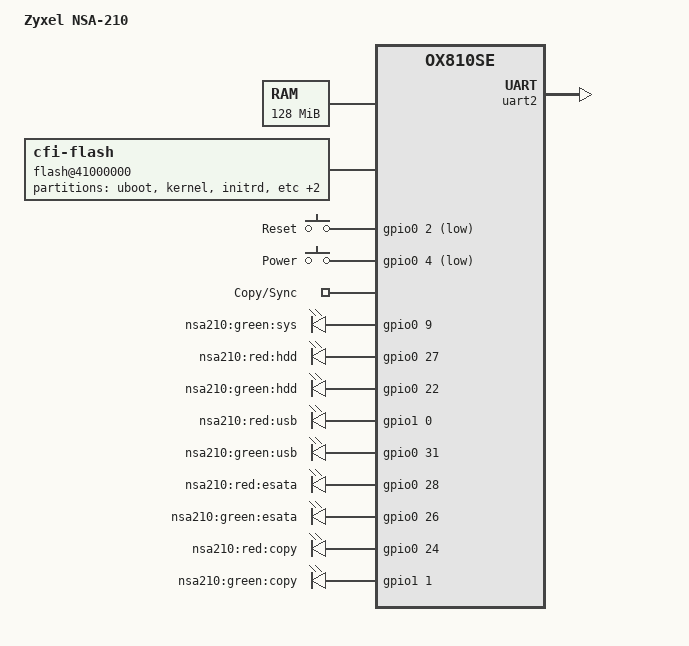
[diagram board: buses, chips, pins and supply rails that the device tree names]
// SPDX-License-Identifier: GPL-2.0-or-later
/*
 * Device tree file for Zyxel NSA-210
 */

/dts-v1/;
#include "ox810se.dtsi"
#include <dt-bindings/gpio/gpio.h>

/ {
	model = "Zyxel NSA-210";

	compatible = "zyxel,nsa210", "oxsemi,ox810se";

	chosen {
		bootargs = "console=ttyS2,115200n8";
	};

	memory {
		reg = <0x48000000 0x8000000>;
	};

	aliases {
		serial2 = &uart2;
	};

	flash@41000000 {
		compatible = "cfi-flash";
		reg = <0x41000000 0x00400000>;
		bank-width = <1>;

		partitions {
			compatible = "fixed-partitions";
			#address-cells = <1>;
			#size-cells = <1>;

			partitions@0 {
				label = "uboot";
				reg = <0x00000000 0x00020000>;
			};

			partitions@1 {
				label = "kernel";
				reg = <0x00020000 0x001c0000>;
			};

			partitions@2 {
				label = "initrd";
				reg = <0x001e0000 0x001a0000>;
			};

			partitions@3 {
				label = "etc";
				reg = <0x00380000 0x00070000>;
			};

			/* 448k gap */

			partitions@4 {
				label = "env1";
				reg = <0x003fc000 0x00002000>;
			};

			partitions@5 {
				label = "env2";
				reg = <0x003fe000 0x00002000>;
			};
		};
	};

	keys {
		compatible = "gpio-keys";

		reset {
			label = "Reset";
			gpios = <&gpio0 2 GPIO_ACTIVE_LOW>;
		};

		power {
			label = "Power";
			gpios = <&gpio0 4 GPIO_ACTIVE_LOW>;
		};

		sync {
			label = "Copy/Sync";
			gpio = <&gpio0 10 GPIO_ACTIVE_LOW>;
		};
	};

	leds {
		compatible = "gpio-leds";

		/*
		 * The vendor U-Boot enables a PWM to make this LED blink during boot.
		 * This must be disabled to be able to drive the LED using the
		 * GPIO as defined here by unsetting bit 9 in the
		 * SYS_CTRL_GPIO_PWMSEL_CTRL_0 register.
		 * E.g. do before starting Linux: mw 0x4500009c 0
		 */
		led1 {
			label = "nsa210:green:sys";
			gpios = <&gpio0 9 GPIO_ACTIVE_HIGH>;
		};

		led2 {
			label = "nsa210:red:hdd";
			gpios = <&gpio0 27 GPIO_ACTIVE_HIGH>;
		};

		led3 {
			label = "nsa210:green:hdd";
			gpios = <&gpio0 22 GPIO_ACTIVE_HIGH>;
		};

		led4 {
			label = "nsa210:red:usb";
			gpios = <&gpio1 0 GPIO_ACTIVE_HIGH>;
		};

		led5 {
			label = "nsa210:green:usb";
			gpios = <&gpio0 31 GPIO_ACTIVE_HIGH>;
		};

		led6 {
			label = "nsa210:red:esata";
			gpios = <&gpio0 28 GPIO_ACTIVE_HIGH>;
		};

		led7 {
			label = "nsa210:green:esata";
			gpios = <&gpio0 26 GPIO_ACTIVE_HIGH>;
		};

		led8 {
			label = "nsa210:red:copy";
			gpios = <&gpio0 24 GPIO_ACTIVE_HIGH>;
		};

		led9 {
			label = "nsa210:green:copy";
			gpios = <&gpio1 1 GPIO_ACTIVE_HIGH>;
		};
	};
};

&uart2 {
	/*
	 * To make this device work as expected bit 2 of register
	 * SYS_CTRL_UART_CTRL must be set. Otherwise the interrupt doesn't
	 * trigger, so console messages make it through, but userspace cannot
	 * make use of it.
	 * E.g. do before starting Linux: mw 0x45000094 4
	 */
	status = "okay";
};
